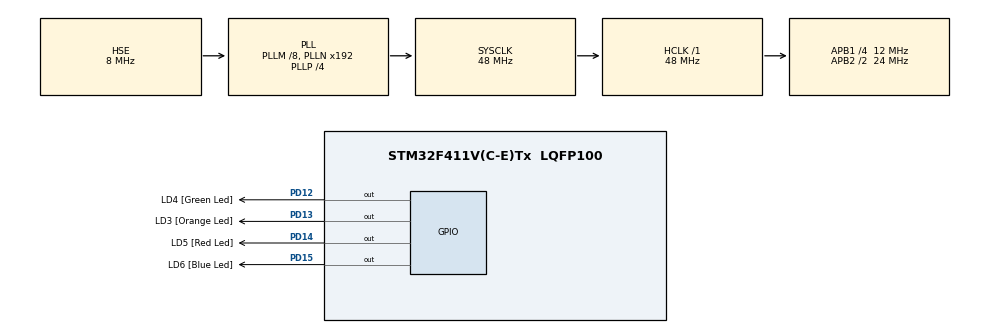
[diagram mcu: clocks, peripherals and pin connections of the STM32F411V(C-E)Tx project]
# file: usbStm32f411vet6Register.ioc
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Mcu.Family=STM32F4
Mcu.Name=STM32F411V(C-E)Tx
Mcu.Package=LQFP100
NVIC.PriorityGroup=NVIC_PRIORITYGROUP_0
PA13.GPIO_Label=SWDIO
PA13.Mode=Serial_Wire
PA13.Signal=SYS_JTMS-SWDIO
PA14.GPIO_Label=SWCLK
PA14.Mode=Serial_Wire
PA14.Signal=SYS_JTCK-SWCLK
PD12.GPIO_Label=LD4 [Green Led]
PD12.GPIO_PuPd=GPIO_NOPULL
PD12.GPIO_Speed=GPIO_SPEED_FREQ_LOW
PD12.Signal=GPIO_Output
PD13.GPIO_Label=LD3 [Orange Led]
PD13.GPIO_PuPd=GPIO_NOPULL
PD13.GPIO_Speed=GPIO_SPEED_FREQ_LOW
PD13.Signal=GPIO_Output
PD14.GPIO_Label=LD5 [Red Led]
PD14.GPIO_PuPd=GPIO_NOPULL
PD14.GPIO_Speed=GPIO_SPEED_FREQ_LOW
PD14.Signal=GPIO_Output
PD15.GPIO_Label=LD6 [Blue Led]
PD15.GPIO_PuPd=GPIO_NOPULL
PD15.GPIO_Speed=GPIO_SPEED_FREQ_LOW
PD15.Signal=GPIO_Output
PH0\ -\ OSC_IN.GPIO_Label=PH0-OSC_IN
PH0\ -\ OSC_IN.Mode=HSE-External-Oscillator
PH0\ -\ OSC_IN.Signal=RCC_OSC_IN
PH1\ -\ OSC_OUT.GPIO_Label=PH1-OSC_OUT
PH1\ -\ OSC_OUT.Mode=HSE-External-Oscillator
PH1\ -\ OSC_OUT.Signal=RCC_OSC_OUT
ProjectManager.HeapSize=0x200
ProjectManager.StackSize=0x400
ProjectManager.TargetToolchain=STM32CubeIDE
RCC.48MHZClocksFreq_Value=24000000
RCC.AHBFreq_Value=48000000
RCC.APB1CLKDivider=RCC_HCLK_DIV4
RCC.APB1Freq_Value=12000000
RCC.APB1TimFreq_Value=24000000
RCC.APB2CLKDivider=RCC_HCLK_DIV2
RCC.APB2Freq_Value=24000000
RCC.APB2TimFreq_Value=48000000
RCC.CortexFreq_Value=48000000
RCC.HCLKFreq_Value=48000000
RCC.HSE_VALUE=8000000
RCC.HSI_VALUE=16000000
RCC.LSE_VALUE=32768
RCC.PLLI2SM=5
RCC.PLLI2SN=200
RCC.PLLM=8
RCC.PLLP=RCC_PLLP_DIV4
RCC.PLLQ=8
RCC.PLLSourceVirtual=RCC_PLLSOURCE_HSE
RCC.SYSCLKFreq_VALUE=48000000
RCC.SYSCLKSource=RCC_SYSCLKSOURCE_PLLCLK
RCC.VCOOutputFreq_Value=192000000
board=STM32F411E-DISCO

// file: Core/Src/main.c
/* USER CODE BEGIN Header */
/**
  ******************************************************************************
  * @file           : main.c
  * @brief          : Main program body
  ******************************************************************************
  * @attention
  *
  * Copyright (c) 2023 STMicroelectronics.
  * All rights reserved.
  *
  * This software is licensed under terms that can be found in the LICENSE file
  * in the root directory of this software component.
  * If no LICENSE file comes with this software, it is provided AS-IS.
  *
  ******************************************************************************
  */
/* USER CODE END Header */
#include "main.h"
#include "newUsb.h"

extern uint32_t usbDataReceived[12];

/* USER CODE BEGIN PV */

uint32_t *pRCC_AHB2ENR = (uint32_t*)(RCC_BASE_ADDR + 0x34);

uint32_t check1;
uint32_t countInt = 0;

//get vendor ID from st/stm32cubeide_1.10.1./plugins/com.st.stm32cube.common.mx_6.8.1.202304191431/db/mcu/IP/USBX-v1.0.0_U5_Cube_Modes.xml file

#if 0
uint8_t ConfigurationDescriptor[9] =
{
	0x09, //bLength 1 byte
	0x02, //bDescriptorType 1 byte (force equal to 2)
	0x32, //50 wTotalLenght 2 byte, total device, config, interface, endpoint
	0x00,
	0x01, //bNumInterfaces 1 byte
	0x01, //bConfigurationValue 1 byte, is used to select configuration (multi)
	0x00, //iConfiguration 1 byte, index string -> no need
	0x40, //bmAttributes 1 byte, self-power (6th-bit enabled)
	0xc8, //bMaxPower 1 byte: 200 * 2 mil-amps, active with 7th-bit is enabled
};

uint8_t InterfaceDescriptor[9] =
{
	0x09, //bLength 1 byte
	0x04, //bDescriptorType 1 byte (force equal to 4)
	0x00, //bInterfaceNumber 1 byte index of interface desc (increase 1 for each added interface desc)
	0x00, //bAlternateSetting 1 byte
	0x02, //bNumEndpoints 1 byte, this value should exclude (mean "ignore") ep 0, 1 IN, 1 OUT
    0x02, //bInterfaceClass 1 byte, = CDC class
	0x00, //bInterfaceSubClass 1 byte
	0x00, //bInterfaceProtocol 1 byte
	0x02, //iInterface 1 byte
};

//end point 1 IN
uint8_t EndpointDescriptor1[7] =
{
	0x07, //bLength 1 byte
	0x05, //bDescriptorType 1 byte (force equal to 5)
	0x81, //bEndpointAddress 1 byte, ep1 (4low-bit), IN (4high-bit)
	0x02, //bmAttributes 1 byte: bulk, no sync, data end-point
	0x40, //wMaxPacketSize 2 byte: max 64 byte this ep can handle
	0x00,
	0x00, //bInterval 1 byte
};

//end point 1 OUT
uint8_t EndpointDescriptor2[7] =
{
	0x07, //bLength 1 byte
	0x05, //bDescriptorType 1 byte (force equal to 5)
	0x01, //bEndpointAddress 1 byte, ep1 (4low-bit), IN (4high-bit)
	0x02, //bmAttributes 1 byte: bulk, no sync, data end-point
	0x40, //wMaxPacketSize 2 byte: max 64 byte this ep can handle
	0x00,
	0x00, //bInterval 1 byte
};
#endif //if 0; these arrays are not used

/* USER CODE END PV */

void SystemClock_Config(void);
static void MX_GPIO_Init(void);
/* USER CODE BEGIN PFP */

uint8_t check2 = 0;

/* USER CODE END PFP */

/* USER CODE BEGIN 0 */

uint32_t *pOTG_FS_GINTSTS_ = (uint32_t*)(OTG_FS_BASE_ADDR + 0x014);

/* USER CODE END 0 */

extern uint8_t checkOderRun[20];
extern uint8_t indexCheckOderRun;

int main(void)
{
  /* USER CODE BEGIN 1 */
//	uint8_t numIRQ = 67;
//	uint32_t *pNVIC_ISER0 = (uint32_t*) 0xE000E100;
	//*(pNVIC_ISER0 + (numIRQ / 32)) |= (1 << (numIRQ % 32));
  /* USER CODE END 1 */

  /* MCU Configuration--------------------------------------------------------*/

  /* Reset of all peripherals, Initializes the Flash interface and the Systick. */
  HAL_Init();

  /* Configure the system clock */
  SystemClock_Config();

  /* Initialize all configured peripherals */
  MX_GPIO_Init();
  /* USER CODE BEGIN 2 */

  *pRCC_AHB2ENR |= (1 << OTGFSEN__RCC_AHB2ENR); //will change AHB master to idle mode
  //uint32_t *pOTG_FS_DCTL_ = (uint32_t*)(OTG_FS_BASE_ADDR + 0x804);

  initUsb();

  while (1)
  {
	 if(check2 == 3)
	 {

	     GPIOD->ODR |= (1 << 12);
	     HAL_Delay(1000);
	     GPIOD->ODR &= ~(1 << 12);
	     for(int j = 0; j < indexCheckOderRun; j++)
	     {
	     	GPIOD->ODR |= checkOderRun[j] << 12;
			HAL_Delay(1500);
			GPIOD->ODR &= ~(0x0f << 12);

		 }

		GPIOD->ODR &= ~(1 << 12);
		HAL_Delay(500);
		GPIOD->ODR |= (1 << 12);
		HAL_Delay(500);
		GPIOD->ODR &= ~(1 << 12);
		HAL_Delay(500);
		GPIOD->ODR |= (1 << 12);
		HAL_Delay(500);
		GPIOD->ODR &= ~(1 << 12);
		HAL_Delay(500);
		GPIOD->ODR |= (1 << 12);
		HAL_Delay(500);
		GPIOD->ODR &= ~(1 << 12);
		HAL_Delay(500);
		GPIOD->ODR |= (1 << 12);
		HAL_Delay(500);
	}

  }

  /* USER CODE END 3 */
}

void SystemClock_Config(void)
{
  RCC_OscInitTypeDef RCC_OscInitStruct = {0};
  RCC_ClkInitTypeDef RCC_ClkInitStruct = {0};

  /** Configure the main internal regulator output voltage
  */
  __HAL_RCC_PWR_CLK_ENABLE();
  __HAL_PWR_VOLTAGESCALING_CONFIG(PWR_REGULATOR_VOLTAGE_SCALE1);

  /** Initializes the RCC Oscillators according to the specified parameters
  * in the RCC_OscInitTypeDef structure.
  */
  RCC_OscInitStruct.OscillatorType = RCC_OSCILLATORTYPE_HSE;
  RCC_OscInitStruct.HSEState = RCC_HSE_ON;
  RCC_OscInitStruct.PLL.PLLState = RCC_PLL_ON;
  RCC_OscInitStruct.PLL.PLLSource = RCC_PLLSOURCE_HSE;
  RCC_OscInitStruct.PLL.PLLM = 8;
  RCC_OscInitStruct.PLL.PLLN = 192;
  RCC_OscInitStruct.PLL.PLLP = RCC_PLLP_DIV4;
  RCC_OscInitStruct.PLL.PLLQ = 4; //forUSB full speed 48MHz
  if (HAL_RCC_OscConfig(&RCC_OscInitStruct) != HAL_OK)
  {
    Error_Handler();
  }

  /** Initializes the CPU, AHB and APB buses clocks
  */
  RCC_ClkInitStruct.ClockType = RCC_CLOCKTYPE_HCLK|RCC_CLOCKTYPE_SYSCLK
                              |RCC_CLOCKTYPE_PCLK1|RCC_CLOCKTYPE_PCLK2;
  RCC_ClkInitStruct.SYSCLKSource = RCC_SYSCLKSOURCE_PLLCLK;
  RCC_ClkInitStruct.AHBCLKDivider = RCC_SYSCLK_DIV1;
  RCC_ClkInitStruct.APB1CLKDivider = RCC_HCLK_DIV4;
  RCC_ClkInitStruct.APB2CLKDivider = RCC_HCLK_DIV2;

  if (HAL_RCC_ClockConfig(&RCC_ClkInitStruct, FLASH_LATENCY_1) != HAL_OK)
  {
    Error_Handler();
  }
}

static void MX_GPIO_Init(void)
{
  GPIO_InitTypeDef GPIO_InitStruct = {0};

  /* GPIO Ports Clock Enable */
  __HAL_RCC_GPIOH_CLK_ENABLE();
  __HAL_RCC_GPIOD_CLK_ENABLE();
  __HAL_RCC_GPIOA_CLK_ENABLE();

  /*Configure GPIO pin Output Level */
  HAL_GPIO_WritePin(GPIOD, LD4_Pin|LD3_Pin|LD5_Pin|LD6_Pin, GPIO_PIN_RESET);

  /*Configure GPIO pins : LD4_Pin LD3_Pin LD5_Pin LD6_Pin */
  GPIO_InitStruct.Pin = LD4_Pin|LD3_Pin|LD5_Pin|LD6_Pin;
  GPIO_InitStruct.Mode = GPIO_MODE_OUTPUT_PP;
  GPIO_InitStruct.Pull = GPIO_NOPULL;
  GPIO_InitStruct.Speed = GPIO_SPEED_FREQ_LOW;
  HAL_GPIO_Init(GPIOD, &GPIO_InitStruct);

}

/* USER CODE BEGIN 4 */

void OTG_FS_IRQHandler(void)
{
//	USB_OTG_FS->GAHBCFG &= ~(1 << 0);
//NPTXFE, ESUSP, USBSUSP, EOPF, PTXFE, SRQINT is 1
	check2 = 3;
//	countInt++;
//	if(countInt > 40000)
//	{
//		if( (((GPIOD->ODR) >> 14) & 0x01) == 0)
//		{
//			GPIOD->ODR |= (1 << 14);
//		}
//		else
//		{
//			GPIOD->ODR &= ~(1 << 14);
//		}
//		countInt = 0;
//	}

	(void)usbInterruptHandler();

}

/* USER CODE END 4 */

void Error_Handler(void)
{
  __disable_irq();
  while (1)
  {
  }
}
